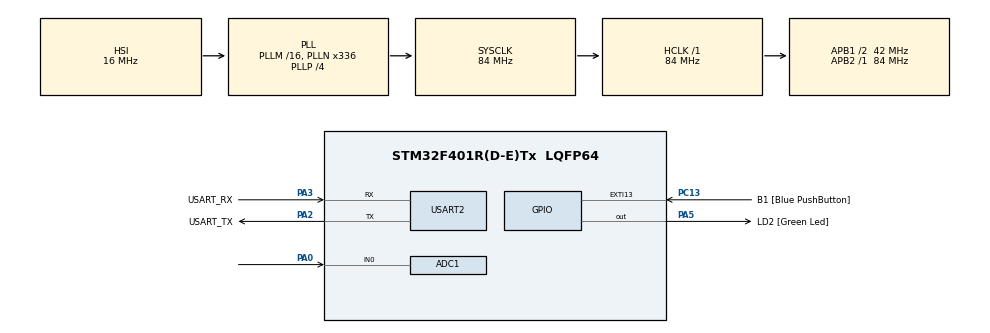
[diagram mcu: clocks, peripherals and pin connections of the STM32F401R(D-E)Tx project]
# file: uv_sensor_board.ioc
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ADC1.Channel-2\#ChannelRegularConversion=ADC_CHANNEL_0
ADC1.ContinuousConvMode=ENABLE
ADC1.EOCSelection=ADC_EOC_SEQ_CONV
ADC1.NbrOfConversionFlag=1
ADC1.Rank-2\#ChannelRegularConversion=1
ADC1.SamplingTime-2\#ChannelRegularConversion=ADC_SAMPLETIME_3CYCLES
ADC1.master=1
Mcu.Family=STM32F4
Mcu.Name=STM32F401R(D-E)Tx
Mcu.Package=LQFP64
NVIC.PriorityGroup=NVIC_PRIORITYGROUP_0
PA0-WKUP.Signal=ADCx_IN0
PA13.GPIO_Label=TMS
PA13.Mode=Serial_Wire
PA13.Signal=SYS_JTMS-SWDIO
PA14.GPIO_Label=TCK
PA14.Mode=Serial_Wire
PA14.Signal=SYS_JTCK-SWCLK
PA2.GPIO_Label=USART_TX
PA2.GPIO_Mode=GPIO_MODE_AF_PP
PA2.GPIO_PuPd=GPIO_NOPULL
PA2.GPIO_Speed=GPIO_SPEED_FREQ_LOW
PA2.Mode=Asynchronous
PA2.Signal=USART2_TX
PA3.GPIO_Label=USART_RX
PA3.GPIO_Mode=GPIO_MODE_AF_PP
PA3.GPIO_PuPd=GPIO_NOPULL
PA3.GPIO_Speed=GPIO_SPEED_FREQ_LOW
PA3.Mode=Asynchronous
PA3.Signal=USART2_RX
PA5.GPIO_Label=LD2 [Green Led]
PA5.GPIO_Mode=GPIO_MODE_OUTPUT_PP
PA5.GPIO_PuPd=GPIO_NOPULL
PA5.GPIO_Speed=GPIO_SPEED_FREQ_LOW
PA5.Signal=GPIO_Output
PB3.GPIO_Label=SWO
PB3.Signal=SYS_JTDO-SWO
PC13-ANTI_TAMP.GPIO_Label=B1 [Blue PushButton]
PC13-ANTI_TAMP.GPIO_ModeDefaultEXTI=GPIO_MODE_IT_FALLING
PC13-ANTI_TAMP.GPIO_PuPd=GPIO_NOPULL
PC13-ANTI_TAMP.Signal=GPXTI13
PC14-OSC32_IN.Mode=LSE-External-Oscillator
PC14-OSC32_IN.Signal=RCC_OSC32_IN
PC15-OSC32_OUT.Mode=LSE-External-Oscillator
PC15-OSC32_OUT.Signal=RCC_OSC32_OUT
PH0\ -\ OSC_IN.Mode=HSE-External-Clock-Source
PH0\ -\ OSC_IN.Signal=RCC_OSC_IN
PH1\ -\ OSC_OUT.Mode=HSE-External-Clock-Source
PH1\ -\ OSC_OUT.Signal=RCC_OSC_OUT
ProjectManager.HeapSize=0x200
ProjectManager.StackSize=0x400
ProjectManager.TargetToolchain=STM32CubeIDE
RCC.48MHZClocksFreq_Value=48000000
RCC.AHBFreq_Value=84000000
RCC.APB1CLKDivider=RCC_HCLK_DIV2
RCC.APB1Freq_Value=42000000
RCC.APB1TimFreq_Value=84000000
RCC.APB2Freq_Value=84000000
RCC.APB2TimFreq_Value=84000000
RCC.CortexFreq_Value=84000000
RCC.HCLKFreq_Value=84000000
RCC.HSE_VALUE=8000000
RCC.HSI_VALUE=16000000
RCC.PLLN=336
RCC.PLLP=RCC_PLLP_DIV4
RCC.PLLQ=7
RCC.SYSCLKFreq_VALUE=84000000
RCC.SYSCLKSource=RCC_SYSCLKSOURCE_PLLCLK
RCC.VCOOutputFreq_Value=336000000
SH.ADCx_IN0.0=ADC1_IN0,IN0
USART2.VirtualMode=VM_ASYNC
board=NUCLEO-F401RE

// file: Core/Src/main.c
/* USER CODE BEGIN Header */
/**
  ******************************************************************************
  * @file           : main.c
  * @brief          : Main program body
  ******************************************************************************
  * @attention
  *
  * Copyright (c) 2024 STMicroelectronics.
  * All rights reserved.
  *
  * This software is licensed under terms that can be found in the LICENSE file
  * in the root directory of this software component.
  * If no LICENSE file comes with this software, it is provided AS-IS.
  *
  ******************************************************************************
  */
/* USER CODE END Header */
#include "main.h"
#include "ADC_Reader.c"

ADC_HandleTypeDef hadc1;

UART_HandleTypeDef huart2;

void SystemClock_Config(void);
static void MX_GPIO_Init(void);
static void MX_USART2_UART_Init(void);
static void MX_ADC1_Init(void);

int main(void)
{

  /* MCU Configuration--------------------------------------------------------*/

  /* Reset of all peripherals, Initializes the Flash interface and the Systick. */
  HAL_Init();

  /* Configure the system clock */
  SystemClock_Config();

  /* Initialize all configured peripherals */
  MX_GPIO_Init();
  MX_USART2_UART_Init();
  MX_ADC1_Init();
  /* USER CODE BEGIN 2 */

  //Start the ADC
  HAL_ADC_Start(&hadc1);
  //Declare variables to hold ADC data, and UART Transmit messages
  uint32_t ADC_Value;
  char msg[50];

  /* USER CODE END 2 */

  /* Infinite loop */
  while (1)
  {

    /* USER CODE BEGIN 3 */

	  //ADC_Reader(&hadc1,&huart2);
	  // Wait for the ADC to finish conversion
	    HAL_ADC_PollForConversion(&hadc1, 100);
	    //Read ADC value
	    ADC_Value = HAL_ADC_GetValue(&hadc1);
	    //ADC_Value = 1200;
	    float voltage = (ADC_Value / 4095.0f) * 3.3f;
	    //Write message to char array
	    sprintf(msg, "ADC Value: %u, Voltage: %.2fV\r\n", ADC_Value, voltage);
	    //Transmit message through UART
	    HAL_UART_Transmit(&huart2, (uint8_t*)msg, strlen(msg), 100);
	  HAL_Delay(500);
  }
  /* USER CODE END 3 */
}

void SystemClock_Config(void)
{
  RCC_OscInitTypeDef RCC_OscInitStruct = {0};
  RCC_ClkInitTypeDef RCC_ClkInitStruct = {0};

  /** Configure the main internal regulator output voltage
  */
  __HAL_RCC_PWR_CLK_ENABLE();
  __HAL_PWR_VOLTAGESCALING_CONFIG(PWR_REGULATOR_VOLTAGE_SCALE2);

  /** Initializes the RCC Oscillators according to the specified parameters
  * in the RCC_OscInitTypeDef structure.
  */
  RCC_OscInitStruct.OscillatorType = RCC_OSCILLATORTYPE_HSI;
  RCC_OscInitStruct.HSIState = RCC_HSI_ON;
  RCC_OscInitStruct.HSICalibrationValue = RCC_HSICALIBRATION_DEFAULT;
  RCC_OscInitStruct.PLL.PLLState = RCC_PLL_ON;
  RCC_OscInitStruct.PLL.PLLSource = RCC_PLLSOURCE_HSI;
  RCC_OscInitStruct.PLL.PLLM = 16;
  RCC_OscInitStruct.PLL.PLLN = 336;
  RCC_OscInitStruct.PLL.PLLP = RCC_PLLP_DIV4;
  RCC_OscInitStruct.PLL.PLLQ = 7;
  if (HAL_RCC_OscConfig(&RCC_OscInitStruct) != HAL_OK)
  {
    Error_Handler();
  }

  /** Initializes the CPU, AHB and APB buses clocks
  */
  RCC_ClkInitStruct.ClockType = RCC_CLOCKTYPE_HCLK|RCC_CLOCKTYPE_SYSCLK
                              |RCC_CLOCKTYPE_PCLK1|RCC_CLOCKTYPE_PCLK2;
  RCC_ClkInitStruct.SYSCLKSource = RCC_SYSCLKSOURCE_PLLCLK;
  RCC_ClkInitStruct.AHBCLKDivider = RCC_SYSCLK_DIV1;
  RCC_ClkInitStruct.APB1CLKDivider = RCC_HCLK_DIV2;
  RCC_ClkInitStruct.APB2CLKDivider = RCC_HCLK_DIV1;

  if (HAL_RCC_ClockConfig(&RCC_ClkInitStruct, FLASH_LATENCY_2) != HAL_OK)
  {
    Error_Handler();
  }
}

static void MX_ADC1_Init(void)
{

  ADC_ChannelConfTypeDef sConfig = {0};

  /** Configure the global features of the ADC (Clock, Resolution, Data Alignment and number of conversion)
  */
  hadc1.Instance = ADC1;
  hadc1.Init.ClockPrescaler = ADC_CLOCK_SYNC_PCLK_DIV4;
  hadc1.Init.Resolution = ADC_RESOLUTION_12B;
  hadc1.Init.ScanConvMode = DISABLE;
  hadc1.Init.ContinuousConvMode = ENABLE;
  hadc1.Init.DiscontinuousConvMode = DISABLE;
  hadc1.Init.ExternalTrigConvEdge = ADC_EXTERNALTRIGCONVEDGE_NONE;
  hadc1.Init.ExternalTrigConv = ADC_SOFTWARE_START;
  hadc1.Init.DataAlign = ADC_DATAALIGN_RIGHT;
  hadc1.Init.NbrOfConversion = 1;
  hadc1.Init.DMAContinuousRequests = DISABLE;
  hadc1.Init.EOCSelection = ADC_EOC_SEQ_CONV;
  if (HAL_ADC_Init(&hadc1) != HAL_OK)
  {
    Error_Handler();
  }

  /** Configure for the selected ADC regular channel its corresponding rank in the sequencer and its sample time.
  */
  sConfig.Channel = ADC_CHANNEL_0;
  sConfig.Rank = 1;
  sConfig.SamplingTime = ADC_SAMPLETIME_3CYCLES;
  if (HAL_ADC_ConfigChannel(&hadc1, &sConfig) != HAL_OK)
  {
    Error_Handler();
  }

}

static void MX_USART2_UART_Init(void)
{

  huart2.Instance = USART2;
  huart2.Init.BaudRate = 115200;
  huart2.Init.WordLength = UART_WORDLENGTH_8B;
  huart2.Init.StopBits = UART_STOPBITS_1;
  huart2.Init.Parity = UART_PARITY_NONE;
  huart2.Init.Mode = UART_MODE_TX_RX;
  huart2.Init.HwFlowCtl = UART_HWCONTROL_NONE;
  huart2.Init.OverSampling = UART_OVERSAMPLING_16;
  if (HAL_UART_Init(&huart2) != HAL_OK)
  {
    Error_Handler();
  }

}

static void MX_GPIO_Init(void)
{
  GPIO_InitTypeDef GPIO_InitStruct = {0};

  /* GPIO Ports Clock Enable */
  __HAL_RCC_GPIOC_CLK_ENABLE();
  __HAL_RCC_GPIOH_CLK_ENABLE();
  __HAL_RCC_GPIOA_CLK_ENABLE();
  __HAL_RCC_GPIOB_CLK_ENABLE();

  /*Configure GPIO pin Output Level */
  HAL_GPIO_WritePin(LD2_GPIO_Port, LD2_Pin, GPIO_PIN_RESET);

  /*Configure GPIO pin : B1_Pin */
  GPIO_InitStruct.Pin = B1_Pin;
  GPIO_InitStruct.Mode = GPIO_MODE_IT_FALLING;
  GPIO_InitStruct.Pull = GPIO_NOPULL;
  HAL_GPIO_Init(B1_GPIO_Port, &GPIO_InitStruct);

  /*Configure GPIO pin : LD2_Pin */
  GPIO_InitStruct.Pin = LD2_Pin;
  GPIO_InitStruct.Mode = GPIO_MODE_OUTPUT_PP;
  GPIO_InitStruct.Pull = GPIO_NOPULL;
  GPIO_InitStruct.Speed = GPIO_SPEED_FREQ_LOW;
  HAL_GPIO_Init(LD2_GPIO_Port, &GPIO_InitStruct);

}

/* USER CODE BEGIN 4 */
int _write(int file, char *ptr, int len)
{
  (void)file;
  int DataIdx;

  for (DataIdx = 0; DataIdx < len; DataIdx++)
  {
    ITM_SendChar(*ptr++);
  }
  return len;
}
/* USER CODE END 4 */

void Error_Handler(void)
{
  __disable_irq();
  while (1)
  {
  }
}
